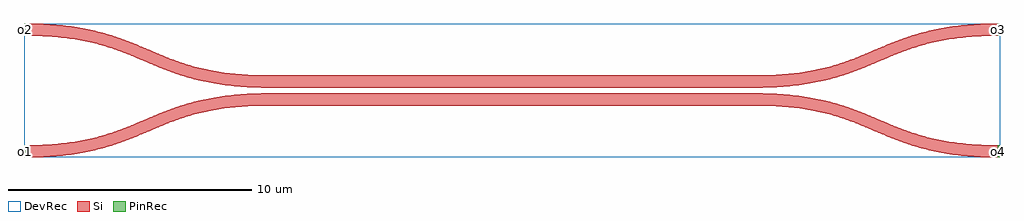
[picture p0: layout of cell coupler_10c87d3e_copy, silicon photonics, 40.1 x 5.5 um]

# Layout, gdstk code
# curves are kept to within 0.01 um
import gdstk
lib = gdstk.Library(unit=1e-6, precision=1e-09)
def R(c, l, rs):  # rectangles x0, y0, x1, y1
    for r in rs: c.add(gdstk.rectangle(r[:2], r[2:], *l))
def P(c, l, *ps):  # polygons
    for p in ps: c.add(gdstk.Polygon(p, *l))
Si = (1, 0)
PinRec = (1, 10)
DevRec = (68, 0)

coupler_10c87d3e_copy = lib.new_cell('coupler_10c87d3e_copy')
R(coupler_10c87d3e_copy, Si, [(0,-0.25,20,0.25), (0,0.486,20,0.986)])
P(coupler_10c87d3e_copy, Si, [(0,-0.25),(-0.851,-0.273),(-1.601,-0.336),(-2.266,-0.435),(-2.86,-0.563),(-3.312,-0.689),(-3.895,-0.886),(-6.015,-1.746),(-6.635,-1.949),(-7.323,-2.125),(-7.983,-2.245),(-8.591,-2.319),(-9.261,-2.366),(-10,-2.382),(-10,-1.882),(-9.149,-1.859),(-8.399,-1.796),(-7.734,-1.697),(-7.14,-1.569),(-6.688,-1.443),(-6.105,-1.246),(-3.985,-0.386),(-3.365,-0.183),(-2.677,-0.007),(-2.017,0.113),(-1.409,0.187),(-0.739,0.234),(0,0.25)],
  [(0,0.986),(-0.851,1.009),(-1.601,1.072),(-2.266,1.171),(-2.86,1.299),(-3.312,1.425),(-3.895,1.622),(-6.015,2.482),(-6.635,2.685),(-7.323,2.861),(-7.983,2.981),(-8.591,3.055),(-9.261,3.102),(-10,3.118),(-10,2.618),(-9.149,2.595),(-8.399,2.532),(-7.734,2.433),(-7.14,2.305),(-6.688,2.179),(-6.105,1.982),(-3.985,1.122),(-3.365,0.919),(-2.677,0.743),(-2.017,0.623),(-1.409,0.549),(-0.739,0.502),(0,0.486)],
  [(20,0.986),(20.851,1.009),(21.601,1.072),(22.266,1.171),(22.86,1.299),(23.312,1.425),(23.895,1.622),(26.015,2.482),(26.635,2.685),(27.323,2.861),(27.983,2.981),(28.591,3.055),(29.261,3.102),(30,3.118),(30,2.618),(29.149,2.595),(28.399,2.532),(27.734,2.433),(27.14,2.305),(26.688,2.179),(26.105,1.982),(23.985,1.122),(23.365,0.919),(22.677,0.743),(22.017,0.623),(21.409,0.549),(20.739,0.502),(20,0.486)],
  [(20,-0.25),(20.851,-0.273),(21.601,-0.336),(22.266,-0.435),(22.86,-0.563),(23.312,-0.689),(23.895,-0.886),(26.015,-1.746),(26.635,-1.949),(27.323,-2.125),(27.983,-2.245),(28.591,-2.319),(29.261,-2.366),(30,-2.382),(30,-1.882),(29.149,-1.859),(28.399,-1.796),(27.734,-1.697),(27.14,-1.569),(26.688,-1.443),(26.105,-1.246),(23.985,-0.386),(23.365,-0.183),(22.677,-0.007),(22.017,0.113),(21.409,0.187),(20.739,0.234),(20,0.25)])
R(coupler_10c87d3e_copy, DevRec, [(-10.05,-2.382,30.05,3.118), (-10,-2.382,30,3.118)])
coupler_10c87d3e_copy.add(gdstk.FlexPath([(-9.95,-2.132),(-10.05,-2.132)], 0.5, ends="flush", simple_path=True, layer=1, datatype=10))  # PinRec
coupler_10c87d3e_copy.add(gdstk.FlexPath([(-9.95,2.868),(-10.05,2.868)], 0.5, ends="flush", simple_path=True, layer=1, datatype=10))  # PinRec
coupler_10c87d3e_copy.add(gdstk.FlexPath([(29.95,2.868),(30.05,2.868)], 0.5, ends="flush", simple_path=True, layer=1, datatype=10))  # PinRec
coupler_10c87d3e_copy.add(gdstk.FlexPath([(29.95,-2.132),(30.05,-2.132)], 0.5, ends="flush", simple_path=True, layer=1, datatype=10))  # PinRec
coupler_10c87d3e_copy.add(gdstk.FlexPath([(-9.95,-2.132),(-10.05,-2.132)], 0.5, ends="flush", simple_path=True, layer=1, datatype=10))  # PinRec
coupler_10c87d3e_copy.add(gdstk.FlexPath([(-9.95,2.868),(-10.05,2.868)], 0.5, ends="flush", simple_path=True, layer=1, datatype=10))  # PinRec
coupler_10c87d3e_copy.add(gdstk.FlexPath([(29.95,2.868),(30.05,2.868)], 0.5, ends="flush", simple_path=True, layer=1, datatype=10))  # PinRec
coupler_10c87d3e_copy.add(gdstk.FlexPath([(29.95,-2.132),(30.05,-2.132)], 0.5, ends="flush", simple_path=True, layer=1, datatype=10))  # PinRec
coupler_10c87d3e_copy.add(gdstk.Label('o1', (-10,-2.132), layer=1, texttype=10))
coupler_10c87d3e_copy.add(gdstk.Label('o2', (-10,2.868), layer=1, texttype=10))
coupler_10c87d3e_copy.add(gdstk.Label('o3', (30,2.868), layer=1, texttype=10))
coupler_10c87d3e_copy.add(gdstk.Label('o4', (30,-2.132), layer=1, texttype=10))
coupler_10c87d3e_copy.add(gdstk.Label('o1', (-10,-2.132), layer=1, texttype=10))
coupler_10c87d3e_copy.add(gdstk.Label('o2', (-10,2.868), layer=1, texttype=10))
coupler_10c87d3e_copy.add(gdstk.Label('o3', (30,2.868), layer=1, texttype=10))
coupler_10c87d3e_copy.add(gdstk.Label('o4', (30,-2.132), layer=1, texttype=10))

lib.write_gds('coupler_10c87d3e_copy.gds')
